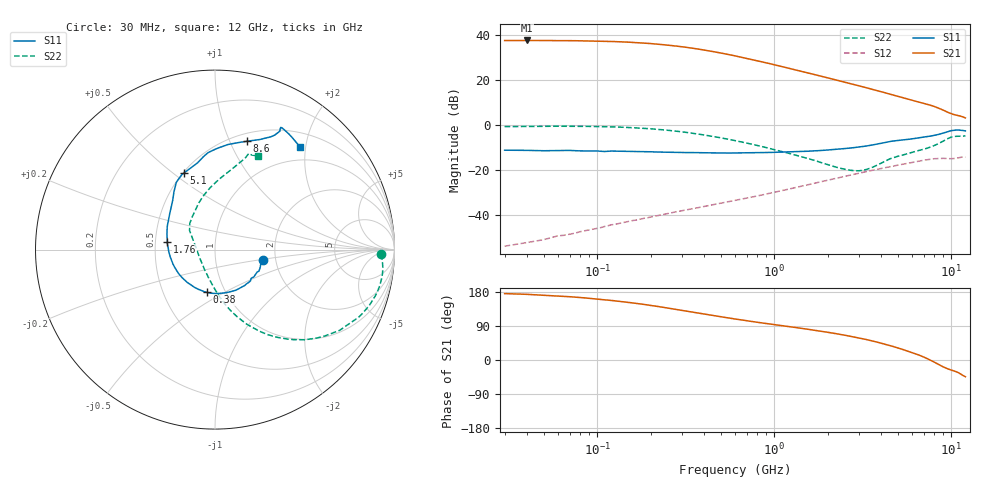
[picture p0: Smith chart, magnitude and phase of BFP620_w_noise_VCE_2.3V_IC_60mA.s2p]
! Infineon Technologies  Discrete & RF Semiconductors
! BFP620
! VCE =  2.3 V,  IC =  60 mA
! Common Emitter S-Parameters:  Nov 2015
# GHz  S  MA  R  50
!  f  S11  S21  S12  S22
! GHz  MAG  ANG  MAG  ANG  MAG  ANG  MAG  ANG
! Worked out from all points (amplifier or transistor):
!   239 points, 30 MHz to 12 GHz, reference 50 ohm
!   highest |S21| = 37.7 dB at 40 MHz (marker M1)
!   |S21| within 3 dB of that: start of sweep to 314 MHz
!   unconditionally stable (mu >= 1): 1.807 GHz to end of sweep
!   at 300 MHz: K = 0.53, MSG = 36.6 dB, |S12| = -38.2 dB
!   at 1.88 GHz: K = 1.00, MAG = 23.0 dB, |S12| = -25.1 dB
!   at 12 GHz: K = 1.09, MAG = 6.9 dB, |S12| = -14.3 dB
!   lowest NFmin = 1.69 dB at 450 MHz
!   S11 on the Smith chart (normalised r, x): 30 MHz: 1.72, -0.22; 380 MHz: 0.82, -0.41; 1.76 GHz: 0.58, +0.05; 5.1 GHz: 0.51, +0.54; 8.6 GHz: 0.58, +1.16; 12 GHz: 0.74, +1.90
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0.03  0.2756 -12.2  76.59 175.2  0.002 94.8  0.9244 -1.6
0.04  0.2733 -15.8  76.95 173.3  0.0024 87.7  0.9347 -3.8
0.07  0.2726 -25.9  76.36 167.0  0.0037 82.7  0.9419 -10.2
0.085  0.2652 -30.1  75.38 163.9  0.0044 82.4  0.9373 -13.3
0.115  0.2604 -40.0  73.53 158.1  0.0057 79.6  0.9176 -19.0
0.14  0.2594 -47.1  71.39 153.7  0.0067 78.3  0.8949 -23.5
0.185  0.2547 -59.2  66.99 146.5  0.0084 75.9  0.843 -30.5
0.24  0.2488 -72.8  61.55 138.4  0.0103 73.8  0.7784 -38.2
0.3  0.2451 -86.5  55.79 130.9  0.0123 72.3  0.7082 -45.2
0.38  0.2423 -100.9  48.81 123.1  0.0147 70.8  0.6228 -52.5
0.5  0.2392 -118.6  40.27 113.8  0.0181 69.8  0.5184 -61.4
0.6  0.2394 -130.0  34.9 108.1  0.0209 69.2  0.4511 -67.0
0.7  0.2408 -139.4  30.58 103.4  0.0236 68.8  0.3956 -71.6
0.9  0.2445 -154.0  24.36 96.2  0.029 67.8  0.3144 -79.1
1.2  0.2518 -169.4  18.57 88.2  0.0372 66.1  0.2359 -88.0
1.64  0.2651 174.7  13.73 79.4  0.0492 62.7  0.1682 -100.7
1.76  0.2693 170.7  12.82 77.2  0.0525 61.6  0.1544 -104.8
2.8  0.3134 145.2  8.048 60.9  0.0796 51.4  0.0967 -153.6
4.5  0.4324 119.9  4.893 37.9  0.1181 33.6  0.177 143.2
5.1  0.4597 112.4  4.278 30.5  0.1299 27.5  0.2064 131.9
8.6  0.6297 73.5  2.327 -13.3  0.1807 -10.3  0.3994 85.6
12  0.7424 50.3  1.445 -44.2  0.1928 -37.0  0.5745 65.3
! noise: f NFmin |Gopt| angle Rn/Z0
0.45  1.69  0.35  -167  0.1
0.9  1.7  0.38  -155  0.11
1.9  1.71  0.41  -139  0.13
2.4  1.74  0.41  -137  0.15
3.5  1.78  0.45  -106  0.27
5.5  2.08  0.46  -85  0.38
10  2.36  0.67  -42  1.41
